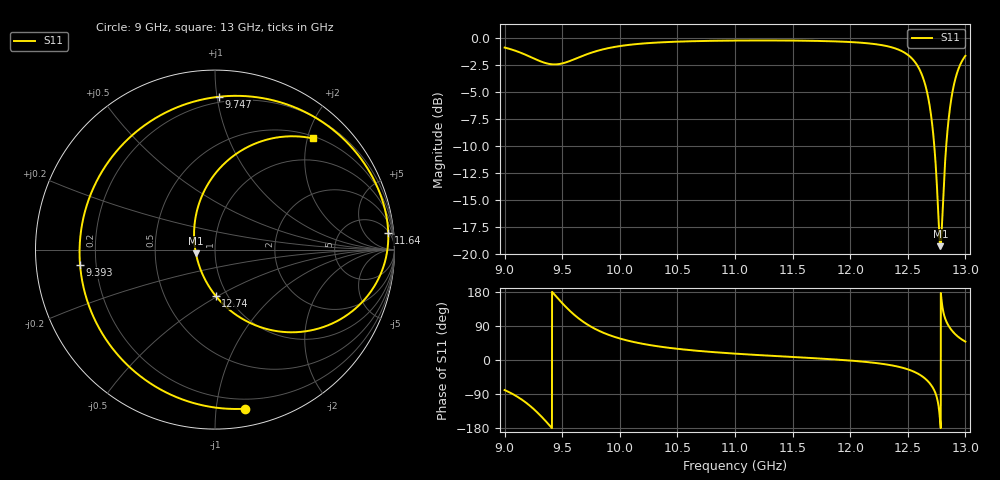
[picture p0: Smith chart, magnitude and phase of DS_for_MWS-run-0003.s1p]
! TOUCHSTONE file generated by CST DESIGN STUDIO
! Date and time: Wed Feb  5 13:27:44 2025
! Project name: C:\Work\MatlabApps\UnitCellOptimizationMatlab\CST\unitcell.cst
! Tree item: Tasks\Sweep1\SPara1\S-Parameters
! Header version: 2024
! Port assignment regex: !\s*Touchstone port\s*([0-9]+)\s*=\s*(CST MWS port|CST DES external port|CST DES block port)\s*(.+)\s* \(\"(.*)\"\)(\s*mode\s*([0-9]+))?.*
! Touchstone port assignment:
! Touchstone port 1 = CST DES external port 1 ("")
# GHz S MA R 50
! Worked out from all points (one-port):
!   4001 points, 9 GHz to 13 GHz, reference 50 ohm
!   lowest |S11| = -19.3 dB at 12.78 GHz (marker M1), VSWR 1.24, Z = 40.3 - j1.66 ohm
!   |S11| at or under -10 dB: 12.73 GHz to 12.83 GHz (103.5 MHz wide, 0.81 % of centre)
!   S11 on the Smith chart (normalised r, x): 9 GHz: 0.13, -1.20; 9.393 GHz: 0.14, -0.05; 9.747 GHz: 0.16, +1.01; 11.64 GHz: 6, +19; 12.74 GHz: 0.88, -0.49; 13 GHz: 0.54, +2.10
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9  0.9023 -79.3
9.114  0.8641 -97.6
9.207  0.8243 -117.6
9.293  0.7862 -141.1
9.393  0.7567 -173.6
9.5  0.7616 150.1
9.618  0.8016 115.8
9.747  0.852 88.5
10  0.9165 56.7
10.216  0.9434 41.7
10.5  0.9609 29.5
11  0.972 16.8
11.5  0.9719 8.0
11.64  0.9699 5.6
12  0.957 -1.5
12.316  0.9167 -11.8
12.5  0.835 -24.6
12.585  0.7419 -35.6
12.659  0.5851 -51.4
12.707  0.4177 -68.1
12.742  0.2587 -89.0
12.769  0.1365 -126.3
12.783  0.1085 -169.2
12.797  0.1378 147.8
12.824  0.2672 109.8
12.873  0.503 81.7
12.927  0.6864 63.8
13  0.826 48.6
